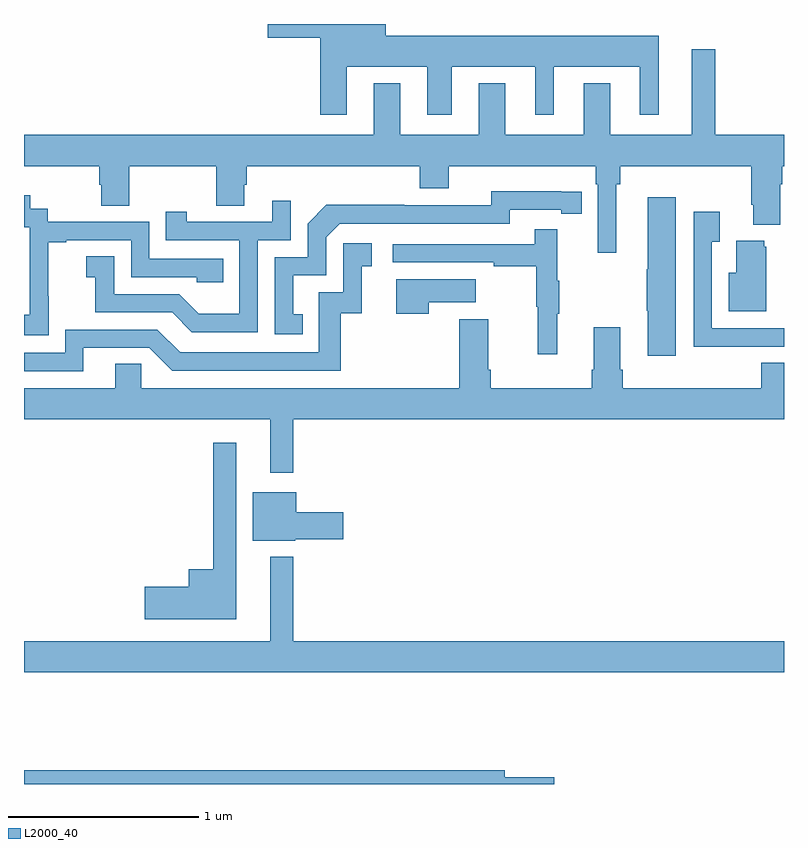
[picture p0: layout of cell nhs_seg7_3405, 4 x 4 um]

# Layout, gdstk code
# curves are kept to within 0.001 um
import gdstk
lib = gdstk.Library(unit=1e-6, precision=1e-09)
def P(c, l, *ps):  # polygons
    for p in ps: c.add(gdstk.Polygon(p, *l))
L2000_40 = (2000, 40)

nhs_seg7_3405 = lib.new_cell('nhs_seg7_3405')
P(nhs_seg7_3405, L2000_40, [(328.699,1031.774),(329.123,1031.774),(329.123,1031.523),(329.251,1031.523),(329.251,1031.774),(329.69,1031.774),(329.69,1031.523),(329.788,1031.523),(329.788,1031.774),(330.242,1031.774),(330.242,1031.523),(330.34,1031.523),(330.34,1031.938),(328.903,1031.938),(328.903,1032),(328.284,1032),(328.284,1031.927),(328.559,1031.927),(328.559,1031.523),(328.699,1031.523)],
  [(330.118,1031.156),(330.137,1031.156),(330.137,1031.252),(330.827,1031.252),(330.827,1031.05),(330.839,1031.05),(330.839,1030.943),(330.979,1030.943),(330.979,1031.156),(330.992,1031.156),(330.992,1031.252),(331,1031.252),(331,1031.416),(330.637,1031.416),(330.637,1031.866),(330.515,1031.866),(330.515,1031.416),(330.085,1031.416),(330.085,1031.689),(329.945,1031.689),(329.945,1031.416),(329.533,1031.416),(329.533,1031.689),(329.393,1031.689),(329.393,1031.416),(328.981,1031.416),(328.981,1031.689),(328.841,1031.689),(328.841,1031.416),(327,1031.416),(327,1031.252),(327.395,1031.252),(327.395,1031.154),(327.407,1031.154),(327.407,1031.044),(327.555,1031.044),(327.555,1031.252),(328.012,1031.252),(328.012,1031.044),(328.159,1031.044),(328.159,1031.154),(328.172,1031.154),(328.172,1031.252),(329.084,1031.252),(329.084,1031.135),(329.236,1031.135),(329.236,1031.252),(330.008,1031.252),(330.008,1031.156),(330.021,1031.156),(330.021,1030.797),(330.118,1030.797)],
  [(328.466,1030.473),(328.417,1030.473),(328.417,1030.677),(328.59,1030.677),(328.59,1030.878),(328.662,1030.95),(329.556,1030.95),(329.556,1031.022),(329.828,1031.022),(329.828,1031.002),(329.936,1031.002),(329.936,1031.118),(329.46,1031.119),(329.46,1031.046),(329,1031.046),(329,1031.048),(328.592,1031.048),(328.494,1030.95),(328.494,1030.773),(328.32,1030.773),(328.32,1030.368),(328.466,1030.368)],
  [(327.129,1030.567),(327.128,1030.567),(327.128,1030.851),(327.223,1030.851),(327.223,1030.863),(327.564,1030.863),(327.564,1030.668),(327.909,1030.668),(327.909,1030.641),(328.049,1030.641),(328.049,1030.764),(327.66,1030.764),(327.66,1030.959),(327.126,1030.959),(327.126,1031.028),(327.034,1031.028),(327.034,1031.098),(327,1031.098),(327,1030.929),(327.03,1030.929),(327.03,1030.7),(327.029,1030.7),(327.029,1030.471),(327,1030.471),(327,1030.361),(327.129,1030.361)],
  [(330.43,1031.089),(330.284,1031.089),(330.284,1030.709),(330.277,1030.709),(330.277,1030.492),(330.284,1030.492),(330.284,1030.254),(330.43,1030.254)],
  [(328.23,1030.863),(328.404,1030.863),(328.404,1031.071),(328.307,1031.071),(328.307,1030.959),(327.856,1030.959),(327.856,1031.011),(327.745,1031.011),(327.745,1030.863),(328.134,1030.863),(328.134,1030.474),(327.92,1030.474),(327.816,1030.578),(327.474,1030.578),(327.474,1030.777),(327.327,1030.777),(327.327,1030.667),(327.376,1030.667),(327.376,1030.482),(327.779,1030.482),(327.884,1030.377),(328.23,1030.377)],
  [(330.797,1030.302),(331,1030.302),(331,1030.398),(330.621,1030.398),(330.621,1030.855),(330.661,1030.855),(330.661,1031.011),(330.525,1031.011),(330.525,1030.301),(330.797,1030.301)],
  [(329.807,1030.475),(329.818,1030.475),(329.818,1030.649),(329.807,1030.649),(329.807,1030.921),(329.689,1030.921),(329.689,1030.842),(328.941,1030.842),(328.941,1030.746),(329.473,1030.746),(329.473,1030.726),(329.697,1030.726),(329.697,1030.512),(329.704,1030.512),(329.704,1030.263),(329.807,1030.263)],
  [(330.907,1030.827),(330.896,1030.827),(330.896,1030.858),(330.749,1030.858),(330.749,1030.69),(330.71,1030.69),(330.71,1030.487),(330.907,1030.487)],
  [(327.313,1030.296),(327.66,1030.296),(327.78,1030.176),(328.667,1030.176),(328.667,1030.478),(328.778,1030.478),(328.778,1030.725),(328.831,1030.725),(328.831,1030.846),(328.68,1030.846),(328.68,1030.587),(328.551,1030.587),(328.551,1030.272),(327.822,1030.272),(327.702,1030.392),(327.216,1030.392),(327.216,1030.269),(327,1030.269),(327,1030.173),(327.313,1030.173)],
  [(329.129,1030.535),(329.377,1030.535),(329.377,1030.657),(328.958,1030.657),(328.958,1030.476),(329.129,1030.476)],
  [(331,1030.217),(330.881,1030.217),(330.881,1030.084),(330.152,1030.084),(330.152,1030.18),(330.139,1030.18),(330.139,1030.405),(329.999,1030.405),(329.999,1030.18),(329.987,1030.18),(329.987,1030.084),(329.456,1030.084),(329.456,1030.18),(329.443,1030.18),(329.443,1030.447),(329.291,1030.447),(329.291,1030.084),(327.618,1030.084),(327.618,1030.211),(327.479,1030.211),(327.479,1030.084),(327,1030.084),(327,1029.92),(328.295,1029.92),(328.295,1029.639),(328.417,1029.639),(328.417,1029.92),(331,1029.92)],
  [(328.117,1029.796),(327.996,1029.796),(327.996,1029.13),(327.866,1029.13),(327.866,1029.038),(327.636,1029.038),(327.636,1028.867),(328.117,1028.867)],
  [(328.428,1029.287),(328.681,1029.287),(328.681,1029.429),(328.432,1029.429),(328.432,1029.535),(328.205,1029.535),(328.205,1029.281),(328.428,1029.281)],
  [(331,1028.752),(328.417,1028.752),(328.417,1029.196),(328.295,1029.196),(328.295,1028.752),(327,1028.752),(327,1028.588),(331,1028.588)],
  [(329.791,1028.036),(329.53,1028.036),(329.53,1028.072),(327,1028.072),(327,1028),(329.791,1028)])

lib.write_gds('nhs_seg7_3405.gds')
